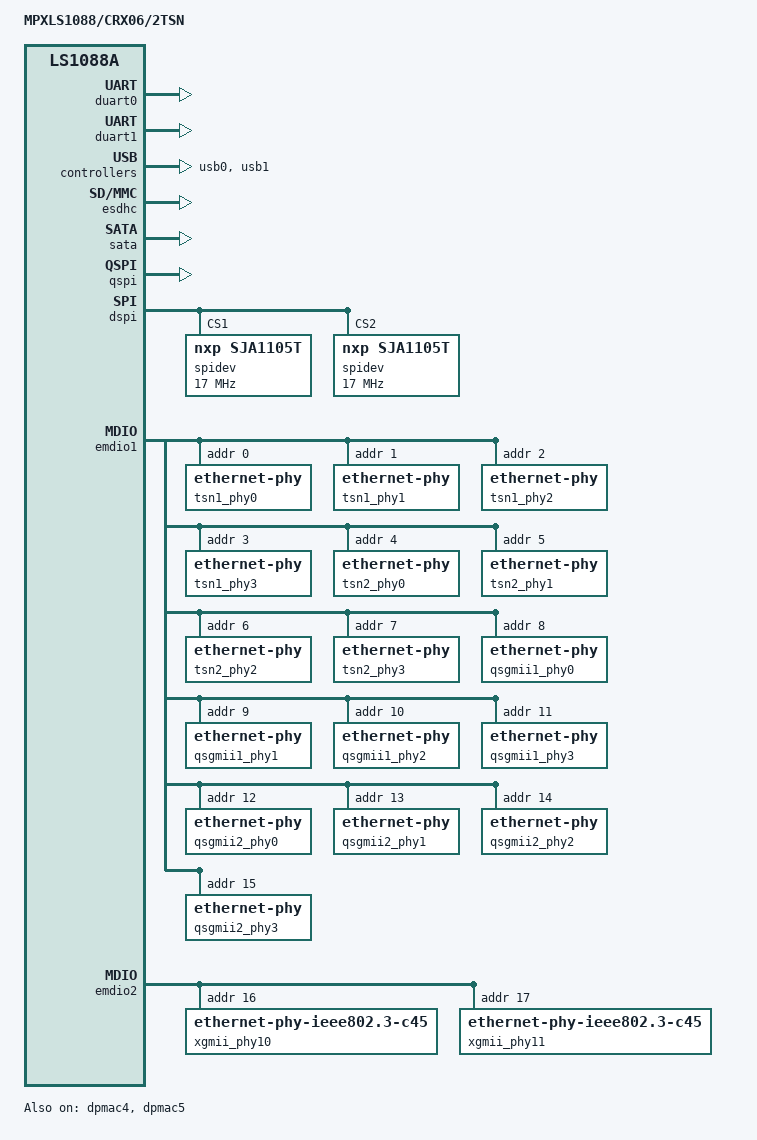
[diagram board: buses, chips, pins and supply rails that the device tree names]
// SPDX-License-Identifier: (GPL-2.0+ OR MIT)
/*
 * Device Tree file for MPXLS1088/CRX05 Board.
 *
 * Copyright 2019 NXP
 * Copyright (C) 2019 MicroSys Electronics GmbH
 *
 */

/dts-v1/;

#include "fsl-ls1088a.dtsi"

/ {
	model = "MPXLS1088/CRX06/2TSN";
	compatible = "fsl,ls1088a-rdb", "fsl,ls1088a";

	aliases {
		ethernet0 = &dpmac1;
		ethernet1 = &dpmac2;
		ethernet2 = &dpmac3;
		ethernet3 = &dpmac4;
		ethernet4 = &dpmac5;
		ethernet5 = &dpmac7;
		ethernet6 = &dpmac8;
		ethernet7 = &dpmac9;
		ethernet8 = &dpmac10;

		serial0 = &duart0;
		serial1 = &duart1;

		crypto = &crypto;
	};

	chosen {
		stdout-path = "serial0:115200n8";
	};
};

&duart0 {
	status = "okay";
};

&duart1 {
	status = "okay";
};

&usb0 {
	status = "okay";
};

&usb1 {
	status = "okay";
};

&esdhc {
	status = "okay";
};

&sata {
	status = "okay";
};

#include "mpxls1088_common.dtsi"

&qspi {
	status = "okay";
};

&dspi {
	num-cs = <2>;
	bus-num = <0>;
	status = "okay";

	spidev@1 {
	compatible = "nxp,sja1105t";
        spi-max-frequency = <17000000>;
        spi-cpha;
        reg = <1>;
        fsl,spi-sck-cs-delay = <25>;
        fsl,spi-cs-sck-delay = <25>;
    };

	spidev@2 {
	compatible = "nxp,sja1105t";
        spi-max-frequency = <17000000>;
        spi-cpha;
        reg = <2>;
        fsl,spi-sck-cs-delay = <25>;
        fsl,spi-cs-sck-delay = <25>;
    };
};

&emdio1 {

	tsn1_phy0: ethernet-phy@0 {
		reg = <0x0>;
	};

	tsn1_phy1: ethernet-phy@1 {
		reg = <0x1>;
	};

	tsn1_phy2: ethernet-phy@2 {
		reg = <0x2>;
	};

	tsn1_phy3: ethernet-phy@3 {
		reg = <0x3>;
	};

	tsn2_phy0: ethernet-phy@4 {
		reg = <0x4>;
	};

	tsn2_phy1: ethernet-phy@5 {
		reg = <0x5>;
	};

	tsn2_phy2: ethernet-phy@6 {
		reg = <0x6>;
	};

	tsn2_phy3: ethernet-phy@7 {
		reg = <0x7>;
	};

	qsgmii1_phy0: ethernet-phy@8 {
		reg = <0x8>;
	};

	qsgmii1_phy1: ethernet-phy@9 {
		reg = <0x9>;
	};

	qsgmii1_phy2: ethernet-phy@a {
		reg = <0xa>;
	};

	qsgmii1_phy3: ethernet-phy@b {
		reg = <0xb>;
	};

	qsgmii2_phy0: ethernet-phy@c {
		reg = <0xc>;
	};

	qsgmii2_phy1: ethernet-phy@d {
		reg = <0xd>;
	};

	qsgmii2_phy2: ethernet-phy@e {
		reg = <0xe>;
	};

	qsgmii2_phy3: ethernet-phy@f {
		reg = <0xf>;
	};

};

&emdio2 {
		xgmii_phy10: ethernet-phy@10 {
			compatible = "ethernet-phy-ieee802.3-c45";
			reg = <0x10>;
			phy-connection-type = "xgmii";
		};
		xgmii_phy11: ethernet-phy@11 {
			compatible = "ethernet-phy-ieee802.3-c45";
			reg = <0x11>;
			phy-connection-type = "xgmii";
		};
};

&dpmac1 {
	phy-handle = <&xgmii_phy10>;
};

&dpmac2 {
	phy-handle = <&xgmii_phy11>;
};

&dpmac3 {
	phy-handle = <&qsgmii1_phy0>;
};

&dpmac4 {
	phy-connection-type = "rgmii";
	status = "okay";
	fixed-link {
		full-duplex;
		speed = <1000>;
		pause;
		asym-pause;
	};
};

&dpmac5 {
	phy-connection-type = "rgmii";
	status = "okay";
	fixed-link {
		full-duplex;
		speed = <1000>;
		pause;
		asym-pause;
	};
};

&dpmac7 {
	phy-handle = <&qsgmii2_phy0>;
};

&dpmac8 {
	phy-handle = <&qsgmii2_phy1>;
};

&dpmac9 {
	phy-handle = <&qsgmii2_phy2>;
};

&dpmac10 {
	phy-handle = <&qsgmii2_phy3>;
};
